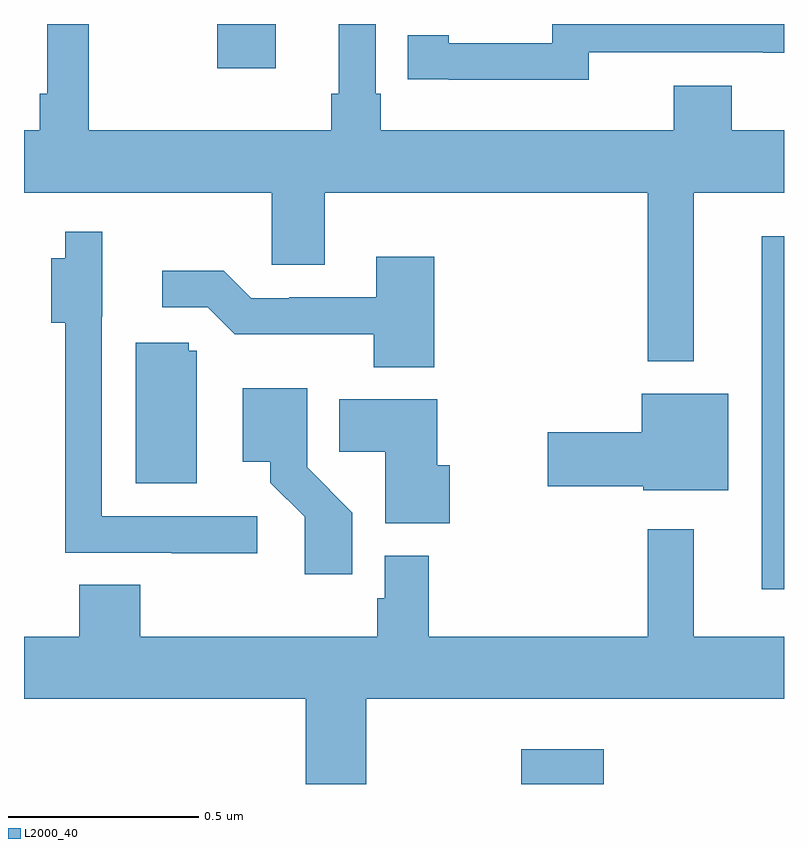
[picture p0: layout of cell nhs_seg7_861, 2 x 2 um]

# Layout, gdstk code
import gdstk
lib = gdstk.Library(unit=1e-6, precision=1e-09)
def R(c, l, rs):  # rectangles x0, y0, x1, y1
    for r in rs: c.add(gdstk.rectangle(r[:2], r[2:], *l))
def P(c, l, *ps):  # polygons
    for p in ps: c.add(gdstk.Polygon(p, *l))
L2000_40 = (2000, 40)

nhs_seg7_861 = lib.new_cell('nhs_seg7_861')
R(nhs_seg7_861, L2000_40, [(123.309,1059,123.526,1059.091), (123.941,1059.513,124,1060.441), (122.509,1060.884,122.662,1061)])
P(nhs_seg7_861, L2000_40, [(123.486,1060.926),(123.946,1060.926),(123.946,1060.925),(124,1060.925),(124,1061),(123.39,1061),(123.39,1060.95),(123.118,1060.95),(123.118,1060.97),(123.01,1060.97),(123.01,1060.854),(123.118,1060.854),(123.118,1060.853),(123.486,1060.853)],
  [(123.763,1060.556),(124,1060.556),(124,1060.72),(123.863,1060.72),(123.863,1060.837),(123.71,1060.837),(123.71,1060.72),(122.939,1060.72),(122.939,1060.816),(122.925,1060.816),(122.925,1061),(122.828,1061),(122.828,1060.816),(122.809,1060.816),(122.809,1060.72),(122.17,1060.72),(122.17,1061),(122.061,1061),(122.061,1060.816),(122.041,1060.816),(122.041,1060.72),(122,1060.72),(122,1060.556),(122.652,1060.556),(122.652,1060.366),(122.791,1060.366),(122.791,1060.556),(123.642,1060.556),(123.642,1060.112),(123.763,1060.112)],
  [(122.614,1059.705),(122.205,1059.705),(122.205,1060.23),(122.206,1060.23),(122.206,1060.453),(122.108,1060.453),(122.108,1060.384),(122.072,1060.384),(122.072,1060.214),(122.109,1060.214),(122.109,1059.609),(122.389,1059.609),(122.389,1059.607),(122.614,1059.607)],
  [(123.08,1060.387),(122.927,1060.387),(122.927,1060.281),(122.698,1060.281),(122.698,1060.278),(122.598,1060.278),(122.525,1060.351),(122.364,1060.351),(122.364,1060.254),(122.484,1060.254),(122.555,1060.184),(122.92,1060.184),(122.92,1060.097),(123.08,1060.097)],
  [(122.455,1060.14),(122.433,1060.14),(122.433,1060.161),(122.294,1060.161),(122.294,1059.792),(122.455,1059.792)],
  [(122.864,1059.714),(122.745,1059.833),(122.745,1060.042),(122.576,1060.042),(122.576,1059.848),(122.648,1059.848),(122.648,1059.793),(122.739,1059.703),(122.739,1059.552),(122.864,1059.552)],
  [(123.853,1060.027),(123.626,1060.027),(123.626,1059.926),(123.378,1059.926),(123.378,1059.784),(123.63,1059.784),(123.63,1059.773),(123.853,1059.773)],
  [(123.121,1059.839),(123.088,1059.839),(123.088,1060.012),(122.83,1060.012),(122.83,1059.874),(122.951,1059.874),(122.951,1059.686),(123.121,1059.686)],
  [(122.901,1059.224),(124,1059.224),(124,1059.388),(123.763,1059.388),(123.763,1059.67),(123.642,1059.67),(123.642,1059.388),(123.065,1059.388),(123.065,1059.601),(122.949,1059.601),(122.949,1059.489),(122.929,1059.489),(122.929,1059.388),(122.306,1059.388),(122.306,1059.524),(122.146,1059.524),(122.146,1059.388),(122,1059.388),(122,1059.224),(122.741,1059.224),(122.741,1059),(122.901,1059)])

lib.write_gds('nhs_seg7_861.gds')
